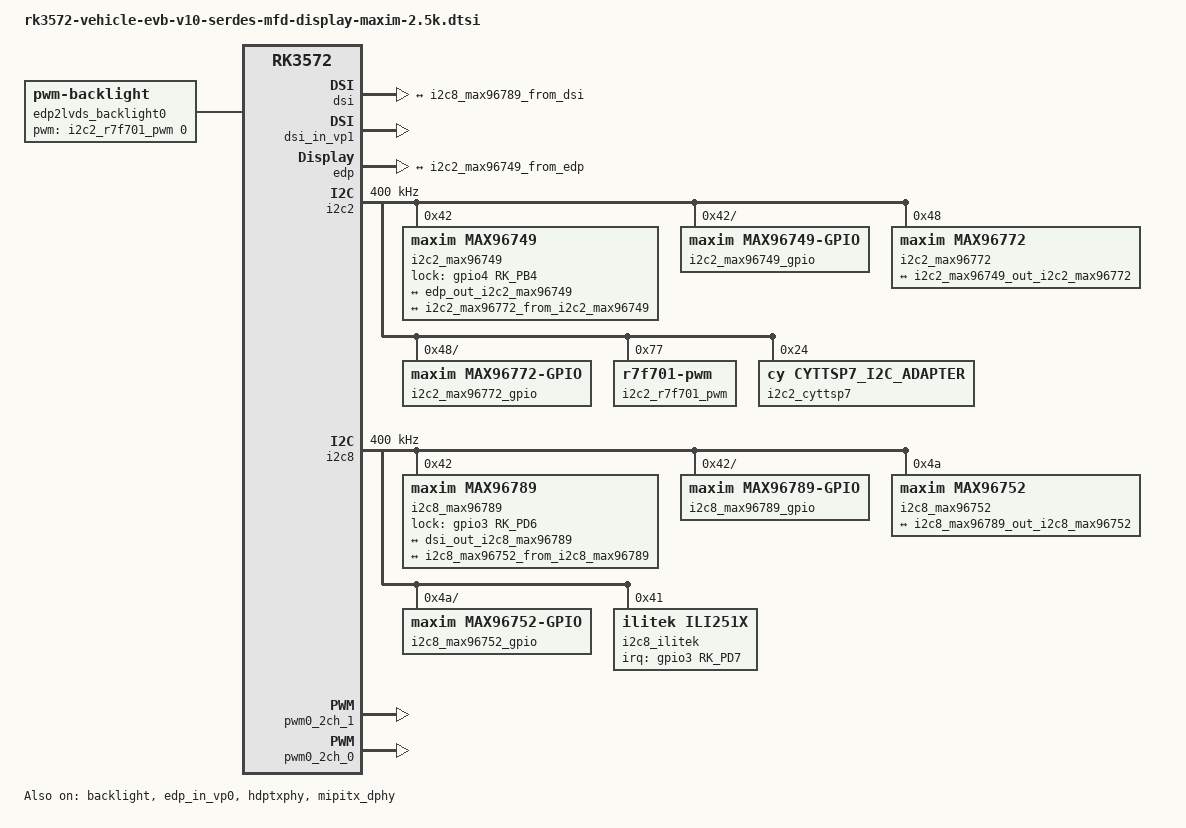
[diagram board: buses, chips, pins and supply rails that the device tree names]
// SPDX-License-Identifier: (GPL-2.0+ OR MIT)
/*
 * Copyright (c) 2026 Rockchip Electronics Co., Ltd.
 *
 */

/ {
	edp2lvds_backlight0: edp2lvds_backlight0 {
		compatible = "pwm-backlight";
		brightness-levels = <
			  0  20  20  21  21  22  22  23
			 23  24  24  25  25  26  26  27
			 27  28  28  29  29  30  30  31
			 31  32  32  33  33  34  34  35
			 35  36  36  37  37  38  38  39
			 40  41  42  43  44  45  46  47
			 48  49  50  51  52  53  54  55
			 56  57  58  59  60  61  62  63
			 64  65  66  67  68  69  70  71
			 72  73  74  75  76  77  78  79
			 80  81  82  83  84  85  86  87
			 88  89  90  91  92  93  94  95
			 96  97  98  99 100 101 102 103
			104 105 106 107 108 109 110 111
			112 113 114 115 116 117 118 119
			120 121 122 123 124 125 126 127
			128 129 130 131 132 133 134 135
			136 137 138 139 140 141 142 143
			144 145 146 147 148 149 150 151
			152 153 154 155 156 157 158 159
			160 161 162 163 164 165 166 167
			168 169 170 171 172 173 174 175
			176 177 178 179 180 181 182 183
			184 185 186 187 188 189 190 191
			192 193 194 195 196 197 198 199
			200 201 202 203 204 205 206 207
			208 209 210 211 212 213 214 215
			216 217 218 219 220 221 222 223
			224 225 226 227 228 229 230 231
			232 233 234 235 236 237 238 239
			240 241 242 243 244 245 246 247
			248 249 250 251 252 253 254 255
		>;
		default-brightness-level = <200>;
	};
};

&backlight {
	pwms = <&pwm0_2ch_1 0 25000 0>;
	status = "okay";
};

&dsi {
	status = "okay";

	ports {
		#address-cells = <1>;
		#size-cells = <0>;

		port@1 {
			reg = <1>;

			dsi_out_i2c8_max96789: endpoint {
				remote-endpoint = <&i2c8_max96789_from_dsi>;
			};
		};
	};
};

&dsi_in_vp0 {
	status = "disabled";
};

&dsi_in_vp1 {
	status = "okay";
};

&edp {
	//split-mode;
	force-hpd;
	status = "okay";

	ports {
		port@1 {
			reg = <1>;

			edp_out_i2c2_max96749: endpoint {
				remote-endpoint = <&i2c2_max96749_from_edp>;
			};
		};
	};
};

&edp_in_vp0 {
	status = "okay";
};

&edp_in_vp1 {
	status = "disabled";
};

&edp2lvds_backlight0 {
	pwms = <&i2c2_r7f701_pwm 0 25000 0>;
	status = "okay";
};

&hdptxphy {
	status = "okay";
};

&hdmi {
	status = "disabled";
};

&i2c2 {
	pinctrl-0 = <&i2c2m3_xfer_pins>;
	clock-frequency = <400000>;
	status = "okay";

	i2c2_max96749: i2c2-max96749@42 {
		compatible = "maxim,max96749";
		reg = <0x42>;
		dual-link;
		pinctrl-names = "default";
		pinctrl-0 = <&i2c2_serdes_pins>;
		lock-gpios = <&gpio4 RK_PB4 GPIO_ACTIVE_HIGH>;
		#address-cells = <1>;
		#size-cells = <0>;
		id-serdes-bridge-split = <0x01>;
		status = "okay";

		serdes-init-sequence = [
			//Set TX_STR_SEL_X to 0
			00A3	0000
			//Set TX_STR_SEL_Y to 1
			00A7	0001

			//INFOFR TX_SRC_ID0:1:2
			00C2	0001
			//CC TX_SRC_ID0:1:2
			00D2	0002
			//IIC X TX_SRC_ID0:1:2
			00EA	0001
			//IIC Y TX_SRC_ID0:1:2
			00F2	0002

			00B2	0003
			00BA	0003
			00CA	0003
			00C2	0003
			00D2	0003
			00DA	0003
			00E2	0003
			00EA	0003
			00F2	0003
			//Set X_VID_LINK_SEL to 0
			0100	0061
			//Set Y_VID_LINK_SEL to 1
			0110	0063

			//Turn off video
			6420	0010
			//Disable MST mode
			7019	0000
			//7019	0001	//Set MST_FUNCTION_ENABLE to 1
			//7904	0001	// Set MST_PAYLOAD_ID_0 to 01
			//7908	0002	// Set MST_PAYLOAD_ID_1 to 01
			//Disable MST_VS0_DTG_ENABLE
			7A14	0000
			//Disable LINK_ENABLE
			7000	0000
			//Reset DPRX core (VIDEO_INPUT_RESET)
			7054	0001
			ffff	f000	//delay 0xf000 us
			//Set MAX_LINK_RATE to 2.7Gb/s
			7074	000A
			//Set MAX_LINK_COUNT to 4
			7070	0004
			//Set ASYM_CTRL_PROP_GAIN to 000A
			04D0	000A
			05D0	000A
			//Set AEQ time to 16ms
			6064	0000
			6065	0000
			6164	0000
			6165	0000
			6264	0000
			6265	0000
			6364	0000
			6365	0000
			//Enable LINK_ENABLE
			7000	0001
			//delay 1000
			//Disable MSA reset
			7A18	0005
			//Adjust VS0_DMA_HSYNC
			7A28	00FF
			7A2A	00FF
			//Adjust VS0_DMA_VSYNC
			7A24	00FF
			7A27	000F
			//Enable MST_VS0_DTG_ENABLE
			7A14	0001
			//set EDP Video Control
			6421	0001
			//Turn on video
			6420	0013
			//delay 100
			//Turn off video
			6420	0010
			//delay 100
			//Turn on video
			6420	0013
			6421	0003
		];

		i2c2_max96749_pinctrl: i2c2-max96749-pinctrl {
			compatible = "maxim,max96749-pinctrl";
			pinctrl-names = "init","sleep";
			pinctrl-0 = <&i2c2_max96749_pinctrl_pins>;
			pinctrl-1 = <&i2c2_max96749_pinctrl_pins>;
			status = "okay";

			i2c2_max96749_pinctrl_pins: pinctrl-pins {
				i2c {
					groups = "MAX96749_I2C";
					function = "MAX96749_I2C";
				};
				tp-int {
					pins = "MAX96749_MFP1";
					function = "DES_RXID1_TO_SER_LINKA";
				};
			};

			i2c2_max96749_gpio: i2c2-max96749-gpio {
				compatible = "maxim,max96749-gpio";
				status = "okay";

				gpio-controller;
				#gpio-cells = <2>;
				gpio-ranges = <&i2c2_max96749_pinctrl 0 160 26>;
			};
		};

		i2c2_max96749_bridge: i2c2-max96749-bridge {
			compatible = "maxim,max96749-bridge";
			status = "okay";

			ports {
				#address-cells = <1>;
				#size-cells = <0>;

				port@0 {
					reg = <0>;

					i2c2_max96749_from_edp: endpoint {
						remote-endpoint = <&edp_out_i2c2_max96749>;
					};
				};

				port@1 {
					reg = <1>;

					i2c2_max96749_out_i2c2_max96772: endpoint {
						remote-endpoint = <&i2c2_max96772_from_i2c2_max96749>;
					};
				};
			};
		};
	};

	i2c2_max96772: i2c2-max96772@48 {
		compatible = "maxim,max96772";
		reg = <0x48>;
		#address-cells = <1>;
		#size-cells = <0>;
		id-serdes-panel-split = <0x01>;
		status = "okay";

		i2c2_max96772_pinctrl: i2c2-max96772-pinctrl {
			compatible = "maxim,max96772-pinctrl";
			status = "okay";

			pinctrl-names = "init","sleep";
			pinctrl-0 = <&i2c2_max96772_panel_pins>;
			pinctrl-1 = <&i2c2_max96772_panel_pins>;

			i2c2_max96772_panel_pins: panel-pins {
				tp-int {
					pins = "MAX96772_GPIO10";
					function = "DES_TXID1_TO_SER";
				};
			};

			i2c2_max96772_gpio: i2c2-max96772-gpio {
				compatible = "maxim,max96772-gpio";
				status = "okay";

				gpio-controller;
				#gpio-cells = <2>;
				gpio-ranges = <&i2c2_max96772_pinctrl 0 186 16>;
			};
		};

		i2c2_max96772_panel: i2c2-max96772-panel {
			compatible = "maxim,max96772-panel";
			status = "okay";

			backlight = <&edp2lvds_backlight0>;
			panel-size = <324 202>;
			rate-count-ssc = <10 4 0>;

			panel-timing {
				clock-frequency = <298368000>;
				hactive = <2560>;
				vactive = <1600>;
				hfront-porch = <48>;
				hsync-len = <32>;
				hback-porch = <320>;
				vfront-porch = <30>;
				vsync-len = <3>;
				vback-porch = <47>;
				hsync-active = <0>;
				vsync-active = <0>;
				de-active = <0>;
				pixelclk-active = <0>;
			};

			port {
				i2c2_max96772_from_i2c2_max96749: endpoint {
					remote-endpoint = <&i2c2_max96749_out_i2c2_max96772>;
				};
			};
		};
	};

	i2c2_r7f701_pwm: i2c2-r7f701-pwm@77 {
		compatible = "r7f701-pwm";
		#pwm-cells = <3>;
		reg = <0x77>;
		status = "okay";
	};

	i2c2_cyttsp7: i2c2-cyttsp7@24 {
		compatible = "cy,cyttsp7_i2c_adapter";
		reg = <0x24>;

		status = "okay";
		cy,core {
			pinctrl-names = "default";
			pinctrl-0 = <&touch_gpio_edp>;
			cy,irq_gpio = <&gpio0 RK_PB6 GPIO_ACTIVE_HIGH>;
			cy,rst_gpio = <&i2c2_max96772_gpio 7 GPIO_ACTIVE_HIGH>;

			cy,max_xfer_len = <0x100>;

			/* CY_CORE_FLAG_WAKE_ON_GESTURE */
			/* cy,flags = <1>; */
			/* CY_CORE_EWG_TAP_TAP | CY_CORE_EWG_TWO_FINGER_SLIDE */
			/* cy,easy_wakeup_gesture = <3>; */
			cy,btn_keys = <172 /* KEY_HOMEPAGE */
			/* previously was KEY_HOME, new Android versions use KEY_HOMEPAGE */
							139 /* KEY_MENU */
							158 /* KEY_BACK */
							217 /* KEY_SEARCH */
							114 /* KEY_VOLUMEDOWN */
							115 /* KEY_VOLUMEUP */
							212 /* KEY_CAMERA */
							116>; /* KEY_POWER */
			cy,btn_keys-tag = <0>;

			cy,mt {
				cy,inp_dev_name = "cyttsp7-mt-edp";
				/* CY_MT_FLAG_FLIP | CY_MT_FLAG_INV_X | CY_MT_FLAG_INV_Y */
				cy,flags = <0x20>;
				cy,abs =
				/* ABS_MT_POSITION_X, CY_ABS_MIN_X, CY_ABS_MAX_X, 0, 0 */
						<
						0x35 0 2560 0 0
				/* ABS_MT_POSITION_Y, CY_ABS_MIN_Y, CY_ABS_MAX_Y, 0, 0 */
						0x36 0 1600 0 0
				/* ABS_MT_PRESSURE, CY_ABS_MIN_P, CY_ABS_MAX_P, 0, 0 */
						0x3a 0 255 0 0
				/* CY_IGNORE_VALUE, CY_ABS_MIN_W, CY_ABS_MAX_W, 0, 0 */
						0xffff 0 255 0 0
				/* ABS_MT_TRACKING_ID, CY_ABS_MIN_T, CY_ABS_MAX_T, 0, 0 */
						0x39 0 15 0 0
				/* ABS_MT_TOUCH_MAJOR, 0, 255, 0, 0 */
						0x30 0 255 0 0
				/* ABS_MT_TOUCH_MINOR, 0, 255, 0, 0 */
						0x31 0 255 0 0
				/* ABS_MT_ORIENTATION, -127, 127, 0, 0 */
						0x34 0xffffff81 127 0 0
				/* ABS_MT_TOOL_TYPE, 0, MT_TOOL_MAX, 0, 0 */
						0x37 0 1 0 0
				/* ABS_DISTANCE, 0, 255, 0, 0 */
						0x19 0 255 0 0
				/* SRI:ABS_MT_DISTANCE, 0,MAX, 0, 0 */
						0x3b 0 255 0 0>;

				cy,vkeys_x = <2560>;
				cy,vkeys_y = <1600>;

				cy,virtual_keys =	/* KeyCode CenterX CenterY Width Height */
									/* KEY_BACK */
									<158 1360 90 160 180
									/* KEY_MENU */
									139 1360 270 160 180
									/* KEY_HOMEPAGE */
									172 1360 450 160 180
									/* KEY SEARCH */
									217 1360 630 160 180>;
			};

			cy,btn {
				cy,inp_dev_name = "cyttsp7-btn-edp";
			};

			cy,proximity {
				cy,inp_dev_name = "cyttsp7-proximity-edp";
				cy,abs =
				/* ABS_DISTANCE, CY_PROXIMITY_MIN_VAL, CY_PROXIMITY_MAX_VAL, 0, 0 */
						<0x19 0 1 0 0>;
			};
		};
	};
};

&i2c8 {
	status = "okay";
	pinctrl-names = "default";
	pinctrl-0 = <&i2c8m2_xfer_pins>;
	clock-frequency = <400000>;

	i2c8_max96789: i2c8-max96789@42 {
		compatible = "maxim,max96789";
		reg = <0x42>;
		pinctrl-names = "default";
		pinctrl-0 = <&i2c8_serdes_pins>;
		lock-gpios = <&gpio3 RK_PD6 GPIO_ACTIVE_HIGH>;
		sel-mipi;
		id-serdes-bridge-split = <0x02>;
		status = "okay";

		serdes-init-sequence = [
			//Independent 11_07_17-56 Using MAX96789/91/F (GMSL-1/2)
			//Disable Video pipe
			0002 0003
			//Set Stream for DSI Port A && assign pipeX
			0053 0010
			//Set Stream for DSI Port B && assign pipeY
			0057 0021
			//Clock Select, X for portA, Y/Z for PortB
			0308 0076
			0380 007D
			0388 0004
			//Start DSI-A Port
			0311 0001
			//Set Port A Lane Mapping
			0332 004E
			//Set Port B Lane Mapping
			0333 00E4
			//Set GMSL type
			0004 00F2
			//Number of Lanes
			0331 0033
			//Set phy_config
			0330 0006
			//Set soft_dtx_en
			031C 0098
			//Set soft_dtx
			0321 0024
			//Set soft_dty_en
			031D 0098
			//Set soft_dty_
			0322 0024
			//Init Default
			0326 00E4
			//HSYNC_WIDTH_L	 HSYNC=40
			0385 0028
			//VSYNC_WIDTH_L	 VSYNC=20
			0386 0014
			//HSYNC_WIDTH_H/VSYNC_WIDTH_H
			0387 0000
			//VFP_L	VFP=15
			03A5 000F
			//VBP_H
			03A7 0000
			//VBP_L/VFP_H VBP=10
			03A6 00A0
			//VRES_L VRES=0X0438=1080
			03A8 0038
			//VRES_H
			03A9 0004
			//HFP_L	 HFP=140
			03AA 008C
			//HBP_H
			03AC 0006
			//HBP_L/HFP_H(4bit)	HBP=100
			03AB 0040
			//HRES_L HRES=0X0780=1920
			03AD 0080
			//HRES_H
			03AE 0007
			//Disable FIFO/DESKEW_EN
			03A4 00C3
			//Turn on video pipe
			0002 0033
			//Enable splitter mode  reset one shot
			0010 0021
			ffff f000	//0xf000 ms delay
		];

		i2c8_max96789_pinctrl: i2c8-max96789-pinctrl {
			compatible = "maxim,max96789-pinctrl";
			pinctrl-names = "init","sleep";
			pinctrl-0 = <&i2c8_max96789_pinctrl_pins>;
			pinctrl-1 = <&i2c8_max96789_pinctrl_pins>;
			status = "okay";
			i2c8_max96789_pinctrl_pins: pinctrl-pins {
				i2c {
					groups = "MAX96789_I2C";
					function = "MAX96789_I2C";
				};
				lcd-bl-pwm {
					pins = "MAX96789_MFP7";
					function = "SER_TXID4_TO_DES";
				};
				tp-int {
					pins = "MAX96789_MFP8";
					function = "DES_RXID8_TO_SER";
				};
			};

			i2c8_max96789_gpio: i2c8-max96789-gpio {
				compatible = "maxim,max96789-gpio";
				status = "okay";

				gpio-controller;
				#gpio-cells = <2>;
				gpio-ranges = <&i2c8_max96789_pinctrl 0 202 21>;
			};
		};

		i2c8_max96789_bridge: i2c8-max96789-bridge {
			compatible = "maxim,max96789-bridge";
			status = "okay";

			ports {
				#address-cells = <1>;
				#size-cells = <0>;

				port@0 {
					reg = <0>;
					i2c8_max96789_from_dsi: endpoint {
						remote-endpoint = <&dsi_out_i2c8_max96789>;
					};
				};

				port@1 {
					reg = <1>;
					i2c8_max96789_out_i2c8_max96752: endpoint {
						remote-endpoint = <&i2c8_max96752_from_i2c8_max96789>;
					};
				};
			};
		};

	};

	i2c8_max96752: i2c8-max96752@4a {
		compatible = "maxim,max96752";
		reg = <0x4a>;
		//reg-hw = <0x4a>;
		id-serdes-panel-split = <0x02>;
		link = <0x01>;
		status = "okay";

		serdes-init-sequence = [
			0002 0043
			0073 0031
			007b 0031
			007d 0038

			0050 0000
			01ce 004e
			01ea 0004
		];

		i2c8_max96752_pinctrl: i2c8-max96752-pinctrl {
			compatible = "maxim,max96752-pinctrl";
			pinctrl-names = "init","sleep";
			pinctrl-0 = <&i2c8_max96752_panel_pins>;
			pinctrl-1 = <&i2c8_max96752_panel_sleep_pins>;
			status = "okay";

			i2c8_max96752_panel_pins: panel-pins {
				lcd-rst-pin {
					pins = "MAX96752_GPIO10";
					function = "DES_TXID10_OUTPUT_HIGH";
				};
				tp-rst {
					pins = "MAX96752_GPIO5";
					function = "DES_TXID5_OUTPUT_HIGH";
				};
				tp-int {
					pins = "MAX96752_GPIO2";
					function = "DES_TXID1_TO_SER";
				};
				40ms-delay {
					pins = "MAX96752_GPIO15";
					function = "DELAY_40MS";
				};
				lcd-pwr-on {
					pins = "MAX96752_GPIO3";
					function = "DES_TXID3_OUTPUT_HIGH";
				};
				lcd-bl-pwm {
					pins = "MAX96752_GPIO4";
					function = "SER_TO_DES_RXID4";
				};
				lcd_bias_en {
					pins = "MAX96752_GPIO7";
					function = "DES_TXID7_OUTPUT_HIGH";
				};
				lcd_vdd_en {
					pins = "MAX96752_GPIO6";
					function = "DES_TXID6_OUTPUT_HIGH";
				};
			};

			i2c8_max96752_panel_sleep_pins: panel-sleep-pins {
				lcd-rst-pin {
					pins = "MAX96752_GPIO10";
					function = "DES_TXID10_OUTPUT_LOW";
				};
				tp-rst {
					pins = "MAX96752_GPIO5";
					function = "DES_TXID5_OUTPUT_LOW";
				};
				lcd-pwr-on {
					pins = "MAX96752_GPIO3";
					function = "DES_TXID3_OUTPUT_LOW";
				};
			};

			i2c8_max96752_gpio: i2c8-max96752-gpio {
				compatible = "maxim,max96752-gpio";
				status = "okay";

				gpio-controller;
				#gpio-cells = <2>;
				gpio-ranges = <&i2c8_max96752_pinctrl 0 223 16>;
			};
		};

		i2c8_max96752_panel: i2c8-max96752-panel {
			compatible = "maxim,max96752-panel";
			status = "okay";

			backlight = <&backlight>;
			panel-size = <346 194>;

			panel-timing {
				clock-frequency = <148500000>;
				hactive = <1920>;
				vactive = <1080>;
				hfront-porch = <140>;
				hsync-len = <40>;
				hback-porch = <100>;
				vfront-porch = <15>;
				vsync-len = <20>;
				vback-porch = <10>;
				hsync-active = <0>;
				vsync-active = <0>;
				de-active = <0>;
				pixelclk-active = <0>;
			};

			ports {
				#address-cells = <1>;
				#size-cells = <0>;

				port@0 {
					reg = <0>;
					i2c8_max96752_from_i2c8_max96789: endpoint {
						remote-endpoint = <&i2c8_max96789_out_i2c8_max96752>;
					};
				};
			};
		};
	};

	i2c8_ilitek: i2c8-ilitek@41 {
		compatible = "ilitek,ili251x";
		reg = <0x41>;
		interrupt-parent = <&gpio3>;
		interrupts = <RK_PD7 IRQ_TYPE_LEVEL_LOW>;
		pinctrl-names = "default";
		pinctrl-0 = <&touch_gpio_dsi>;
		ilitek,name = "ilitek_i2c";
		status = "okay";
	};
};

&mipitx_dphy {
	status = "okay";
};

&pinctrl {
	serdes {
		/*EDP*/
		i2c2_serdes_pins: i2c2-serdes-pins {
			rockchip,pins =
				<4 RK_PB4 RK_FUNC_GPIO &pcfg_pull_up>,/*lock*/
				<3 RK_PD4 RK_FUNC_GPIO &pcfg_pull_up>;/*err*/
		};
		/*DSI*/
		i2c8_serdes_pins: i2c8-serdes-pins {
			rockchip,pins =
				<3 RK_PD5 RK_FUNC_GPIO &pcfg_pull_up>,/*err*/
				<3 RK_PD6 RK_FUNC_GPIO &pcfg_pull_up>;/*lock*/
		};
	};
};

/* dsi->serdes->lvds_panel */
&pwm0_2ch_1 {
	status = "okay";
	pinctrl-0 = <&pwm0m0_ch1_pins>;
};

/* edp->serdes->lvds_panel */
&pwm0_2ch_0 {
	pinctrl-0 = <&pwm0m3_ch0_pins>;
	status = "okay";
};

&route_dsi {
	status = "disabled";
	connect = <&vp1_out_dsi>;
	logo,uboot = "logo1.bmp";
	logo,kernel = "logo1.bmp";
};

&route_edp {
	status = "disabled";
	connect = <&vp0_out_edp>;
	logo,uboot = "logo2.bmp";
	logo,kernel = "logo2.bmp";
};

&vp0 {
	assigned-clocks = <&cru DCLK_VP0_SRC>;
	assigned-clock-parents = <&cru PLL_VPLL>;
};
